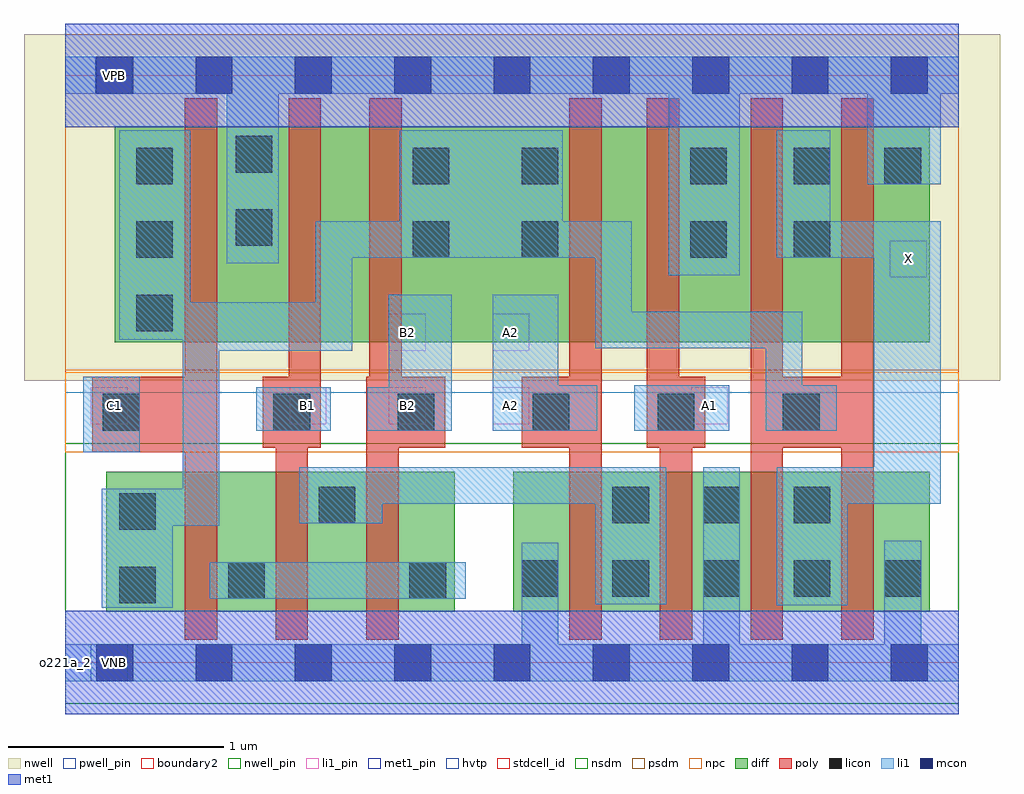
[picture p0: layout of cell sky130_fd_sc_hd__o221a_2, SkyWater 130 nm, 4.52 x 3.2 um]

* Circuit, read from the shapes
.subckt sky130_fd_sc_hd__o221a_2 A1 A2 B1 B2 C1 VGND VNB VPB VPWR X
XM1 n1 C1 n2 VNB sky130_fd_pr__nfet_01v8 w=0.65 l=0.15
XM2 n3 B1 n1 VNB sky130_fd_pr__nfet_01v8 w=0.65 l=0.15
XM3 n1 B2 n3 VNB sky130_fd_pr__nfet_01v8 w=0.65 l=0.15
XM4 n3 A2 VGND VNB sky130_fd_pr__nfet_01v8 w=0.65 l=0.15
XM5 VGND A1 n3 VNB sky130_fd_pr__nfet_01v8 w=0.65 l=0.15
XM6 X n2 VGND VNB sky130_fd_pr__nfet_01v8 w=0.65 l=0.15 m=2
XM7 VPWR C1 n2 VPB sky130_fd_pr__pfet_01v8_hvt w=1 l=0.15
XM8 n4 B1 VPWR VPB sky130_fd_pr__pfet_01v8_hvt w=1 l=0.15
XM9 n2 B2 n4 VPB sky130_fd_pr__pfet_01v8_hvt w=1 l=0.15
XM10 n5 A2 n2 VPB sky130_fd_pr__pfet_01v8_hvt w=1 l=0.15
XM11 VPWR A1 n5 VPB sky130_fd_pr__pfet_01v8_hvt w=1 l=0.15
XM12 X n2 VPWR VPB sky130_fd_pr__pfet_01v8_hvt w=1 l=0.15 m=2
.ends

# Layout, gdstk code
import gdstk
lib = gdstk.Library(unit=1e-6, precision=1e-09)
def R(c, l, rs):  # rectangles x0, y0, x1, y1
    for r in rs: c.add(gdstk.rectangle(r[:2], r[2:], *l))
def A(c, l, x, y, w, h, nx, ny, dx, dy):  # array of equal rectangles
    R(c, l, [(x+i*dx, y+j*dy, x+i*dx+w, y+j*dy+h) for i in range(nx) for j in range(ny)])
def P(c, l, *ps):  # polygons
    for p in ps: c.add(gdstk.Polygon(p, *l))
nwell_pin = (64, 16)
nwell = (64, 20)
diff = (65, 20)
poly = (66, 20)
licon = (66, 44)
li1_pin = (67, 16)
li1 = (67, 20)
mcon = (67, 44)
met1_pin = (68, 16)
met1 = (68, 20)
hvtp = (78, 44)
stdcell_id = (81, 4)
nsdm = (93, 44)
psdm = (94, 20)
npc = (95, 20)
pwell_pin = (122, 16)
boundary2 = (236, 0)

sky130_fd_sc_hd__o221a_2 = lib.new_cell('sky130_fd_sc_hd__o221a_2')
R(sky130_fd_sc_hd__o221a_2, nwell_pin, [(0.14,2.635,0.31,2.805)])
R(sky130_fd_sc_hd__o221a_2, nwell, [(-0.19,1.305,4.33,2.91)])
R(sky130_fd_sc_hd__o221a_2, diff, [(0.19,0.235,1.805,0.885), (2.075,0.235,4.005,0.885), (0.23,1.485,4.005,2.485)])
P(sky130_fd_sc_hd__o221a_2, poly, [(0.705,2.615),(0.555,2.615),(0.555,1.325),(0.125,1.325),(0.125,0.975),(0.555,0.975),(0.555,0.105),(0.705,0.105)],
  [(1.185,2.615),(1.035,2.615),(1.035,1.325),(0.915,1.325),(0.915,0.995),(0.975,0.995),(0.975,0.105),(1.125,0.105),(1.125,0.995),(1.185,0.995)],
  [(1.76,1.325),(1.56,1.325),(1.56,2.615),(1.41,2.615),(1.41,1.325),(1.395,1.325),(1.395,0.105),(1.545,0.105),(1.545,0.995),(1.76,0.995)],
  [(2.485,2.615),(2.335,2.615),(2.335,1.325),(2.115,1.325),(2.115,0.995),(2.335,0.995),(2.335,0.105),(2.485,0.105)],
  [(2.965,1.325),(2.845,1.325),(2.845,2.615),(2.695,2.615),(2.695,0.995),(2.755,0.995),(2.755,0.105),(2.905,0.105),(2.905,0.995),(2.965,0.995)],
  [(3.745,2.615),(3.595,2.615),(3.595,1.325),(3.325,1.325),(3.325,2.615),(3.175,2.615),(3.175,0.105),(3.325,0.105),(3.325,0.995),(3.595,0.995),(3.595,0.105),(3.745,0.105)])
A(sky130_fd_sc_hd__o221a_2, licon, 2.115, 0.305, 0.17, 0.17, 5, 1, 0.42, 0)
A(sky130_fd_sc_hd__o221a_2, licon, 2.535, 0.645, 0.17, 0.17, 3, 1, 0.42, 0)
A(sky130_fd_sc_hd__o221a_2, licon, 2.165, 1.075, 0.17, 0.17, 3, 1, 0.58, 0)
A(sky130_fd_sc_hd__o221a_2, licon, 0.33, 1.535, 0.17, 0.17, 1, 3, 0, 0.34)
R(sky130_fd_sc_hd__o221a_2, licon, [(0.25,0.275,0.42,0.445), (0.755,0.295,0.925,0.465), (1.595,0.295,1.765,0.465), (0.25,0.615,0.42,0.785), (1.175,0.645,1.345,0.815), (0.175,1.075,0.345,1.245), (0.965,1.075,1.135,1.245), (1.54,1.075,1.71,1.245), (1.61,1.875,1.78,2.045), (2.115,1.875,2.285,2.045), (2.895,1.875,3.065,2.045), (3.375,1.875,3.545,2.045), (0.79,1.93,0.96,2.1), (1.61,2.215,1.78,2.385), (2.115,2.215,2.285,2.385), (2.895,2.215,3.065,2.385), (3.375,2.215,3.545,2.385), (3.795,2.215,3.965,2.385), (0.79,2.27,0.96,2.44)])
R(sky130_fd_sc_hd__o221a_2, li1_pin, [(0.12,1.105,0.29,1.275), (1.04,1.105,1.21,1.275), (1.5,1.105,1.67,1.275), (1.98,1.105,2.15,1.275), (2.9,1.105,3.07,1.275), (1.5,1.445,1.67,1.615), (1.98,1.445,2.15,1.615), (3.82,1.785,3.99,1.955)])
R(sky130_fd_sc_hd__o221a_2, li1, [(0.085,0.975,0.345,1.325), (0.885,1.075,1.23,1.275), (2.635,1.075,3.075,1.285)])
P(sky130_fd_sc_hd__o221a_2, li1, [(4.14,0.085),(3.965,0.085),(3.965,0.565),(3.795,0.565),(3.795,0.085),(3.125,0.085),(3.125,0.905),(2.955,0.905),(2.955,0.085),(2.285,0.085),(2.285,0.555),(2.115,0.555),(2.115,0.085),(0,0.085),(0,-0.085),(4.14,-0.085)],
  [(4.14,2.805),(0,2.805),(0,2.635),(0.75,2.635),(0.75,1.85),(0.99,1.85),(0.99,2.635),(2.795,2.635),(2.795,1.795),(3.125,1.795),(3.125,2.635),(3.715,2.635),(3.715,2.215),(4.055,2.215),(4.055,2.635),(4.14,2.635)],
  [(1.79,1.705),(1.5,1.705),(1.5,1.275),(1.4,1.275),(1.4,1.075),(1.79,1.075)],
  [(2.465,1.285),(2.285,1.285),(2.285,1.705),(1.98,1.705),(1.98,1.075),(2.465,1.075)],
  [(2.785,0.905),(1.085,0.905),(1.085,0.645),(1.47,0.645),(1.47,0.735),(2.455,0.735),(2.455,0.27),(2.785,0.27)],
  [(3.575,1.285),(3.415,1.285),(3.415,1.625),(2.625,1.625),(2.625,2.045),(2.305,2.045),(2.305,2.465),(1.55,2.465),(1.55,2.045),(1.16,2.045),(1.16,1.67),(0.58,1.67),(0.58,2.465),(0.25,2.465),(0.25,1.495),(0.545,1.495),(0.545,0.805),(0.17,0.805),(0.17,0.255),(0.5,0.255),(0.5,0.635),(0.715,0.635),(0.715,1.445),(1.33,1.445),(1.33,1.875),(2.455,1.875),(2.455,1.455),(3.245,1.455),(3.245,1.075),(3.575,1.075)],
  [(4.055,2.045),(3.545,2.045),(3.545,2.465),(3.295,2.465),(3.295,1.875),(3.745,1.875),(3.745,0.905),(3.295,0.905),(3.295,0.265),(3.625,0.265),(3.625,0.735),(4.055,0.735)])
A(sky130_fd_sc_hd__o221a_2, mcon, 0.145, -0.085, 0.17, 0.17, 9, 2, 0.46, 2.72)
R(sky130_fd_sc_hd__o221a_2, met1_pin, [(0.12,-0.085,0.29,0.085), (0.14,2.635,0.31,2.805)])
R(sky130_fd_sc_hd__o221a_2, hvtp, [(0,1.25,4.14,2.72)])
R(sky130_fd_sc_hd__o221a_2, stdcell_id, [(0,0,4.14,2.72)])
R(sky130_fd_sc_hd__o221a_2, nsdm, [(0,-0.19,4.14,1.015)])
R(sky130_fd_sc_hd__o221a_2, psdm, [(0,1.355,4.14,2.91)])
R(sky130_fd_sc_hd__o221a_2, npc, [(0,0.975,4.14,1.345)])
R(sky130_fd_sc_hd__o221a_2, pwell_pin, [(0.12,-0.085,0.29,0.085)])
R(sky130_fd_sc_hd__o221a_2, boundary2, [(0,0,4.14,2.72)])
sky130_fd_sc_hd__o221a_2.add(gdstk.FlexPath([(0.67,0.38),(1.855,0.38)], 0.17, ends="flush", simple_path=True, layer=67, datatype=20))  # li1
sky130_fd_sc_hd__o221a_2.add(gdstk.FlexPath([(0,2.72),(4.14,2.72)], 0.48, ends="flush", simple_path=True, layer=68, datatype=20))  # met1
sky130_fd_sc_hd__o221a_2.add(gdstk.FlexPath([(0,0),(4.14,0)], 0.48, ends="flush", simple_path=True, layer=68, datatype=20))  # met1
sky130_fd_sc_hd__o221a_2.add(gdstk.Label('B2', (1.585,1.53), layer=67, texttype=5))
sky130_fd_sc_hd__o221a_2.add(gdstk.Label('A2', (2.065,1.53), layer=67, texttype=5))
sky130_fd_sc_hd__o221a_2.add(gdstk.Label('A2', (2.065,1.19), layer=67, texttype=5))
sky130_fd_sc_hd__o221a_2.add(gdstk.Label('X', (3.905,1.87), layer=67, texttype=5))
sky130_fd_sc_hd__o221a_2.add(gdstk.Label('B1', (1.125,1.19), layer=67, texttype=5))
sky130_fd_sc_hd__o221a_2.add(gdstk.Label('C1', (0.23,1.19), layer=67, texttype=5))
sky130_fd_sc_hd__o221a_2.add(gdstk.Label('A1', (2.985,1.19), layer=67, texttype=5))
sky130_fd_sc_hd__o221a_2.add(gdstk.Label('B2', (1.585,1.19), layer=67, texttype=5))
sky130_fd_sc_hd__o221a_2.add(gdstk.Label('VPB', (0.23,2.72), layer=64, texttype=5))
sky130_fd_sc_hd__o221a_2.add(gdstk.Label('VNB', (0.23,0), layer=64, texttype=59))
sky130_fd_sc_hd__o221a_2.add(gdstk.Label('VGND', (0.23,0), layer=68, texttype=5))
sky130_fd_sc_hd__o221a_2.add(gdstk.Label('VPWR', (0.23,2.72), layer=68, texttype=5))
sky130_fd_sc_hd__o221a_2.add(gdstk.Label('o221a_2', (0,0), layer=83, texttype=44))

lib.write_gds('sky130_fd_sc_hd__o221a_2.gds')
